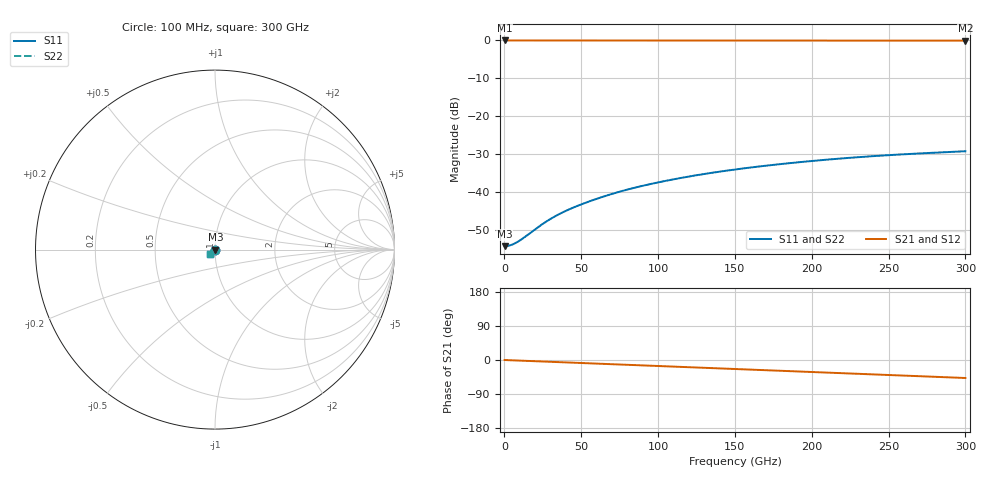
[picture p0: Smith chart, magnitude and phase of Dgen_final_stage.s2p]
#  Hz  S  RI  R  50
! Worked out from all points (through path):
!   3000 points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, 100 MHz to 300 GHz, reference 50 ohm
!   highest |S21| = -0.02 dB at 100 MHz (marker M1); lowest = -0.1 dB at 300 GHz (marker M2)
!   group delay of S21, straight-line fit = 439 fs
!   lowest |S11| = -54.2 dB at 100 MHz (marker M3), VSWR 1.00, Z = 50.2 - j0.000791 ohm
!   |S11| at or under -10 dB: start of sweep to end of sweep
!   |S22| runs from -54.2 to -29.2 dB; largest |S21 - S12| = 3.8e-07
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1e8  0.00196 -7.88e-06  0.9981 -0.000283  0.9981 -0.000283  0.00196 -7.88e-06
1.9e9  0.00196 -0.00015  0.9981 -0.00539  0.9981 -0.00539  0.00196 -0.00015
3.7e9  0.00199 -0.000296  0.998 -0.0105  0.998 -0.0105  0.00199 -0.000296
7.6e9  0.00208 -0.000637  0.9977 -0.0215  0.9977 -0.0215  0.00208 -0.000637
1.21e10  0.00223 -0.0011  0.9971 -0.0341  0.9971 -0.0341  0.00223 -0.0011
2.42e10  0.00258 -0.00273  0.9948 -0.0673  0.9948 -0.0673  0.00258 -0.00273
3.06e10  0.0026 -0.00372  0.9934 -0.0848  0.9934 -0.0848  0.0026 -0.00372
3.49e10  0.00255 -0.00439  0.9923 -0.0965  0.9923 -0.0965  0.00255 -0.00439
3.95e10  0.00245 -0.00509  0.9909 -0.1091  0.9909 -0.1091  0.00245 -0.00509
5.01e10  0.00213 -0.00662  0.9871 -0.138  0.9871 -0.138  0.00213 -0.00662
6.18e10  0.00169 -0.00828  0.9819 -0.1697  0.9819 -0.1697  0.00169 -0.00828
7.4e10  0.00108 -0.01  0.9755 -0.2025  0.9755 -0.2025  0.00108 -0.01
8.62e10  0.000294 -0.0117  0.968 -0.2352  0.968 -0.2352  0.000294 -0.0117
1.001e11  -0.000771 -0.0135  0.9581 -0.272  0.9581 -0.272  -0.000771 -0.0135
1.119e11  -0.0018 -0.015  0.9486 -0.3029  0.9486 -0.3029  -0.0018 -0.015
1.24e11  -0.00299 -0.0164  0.9378 -0.3343  0.9378 -0.3343  -0.00299 -0.0164
1.501e11  -0.00593 -0.0191  0.911 -0.4007  0.911 -0.4007  -0.00593 -0.0191
1.737e11  -0.00895 -0.021  0.8828 -0.4589  0.8828 -0.4589  -0.00895 -0.021
2.001e11  -0.0126 -0.0226  0.8467 -0.5217  0.8467 -0.5217  -0.0126 -0.0226
2.241e11  -0.0161 -0.0234  0.8099 -0.5765  0.8099 -0.5765  -0.0161 -0.0234
2.501e11  -0.0199 -0.0236  0.766 -0.6329  0.766 -0.6329  -0.0199 -0.0236
3e11  -0.0265 -0.0225  0.6703 -0.7313  0.6703 -0.7313  -0.0265 -0.0225
